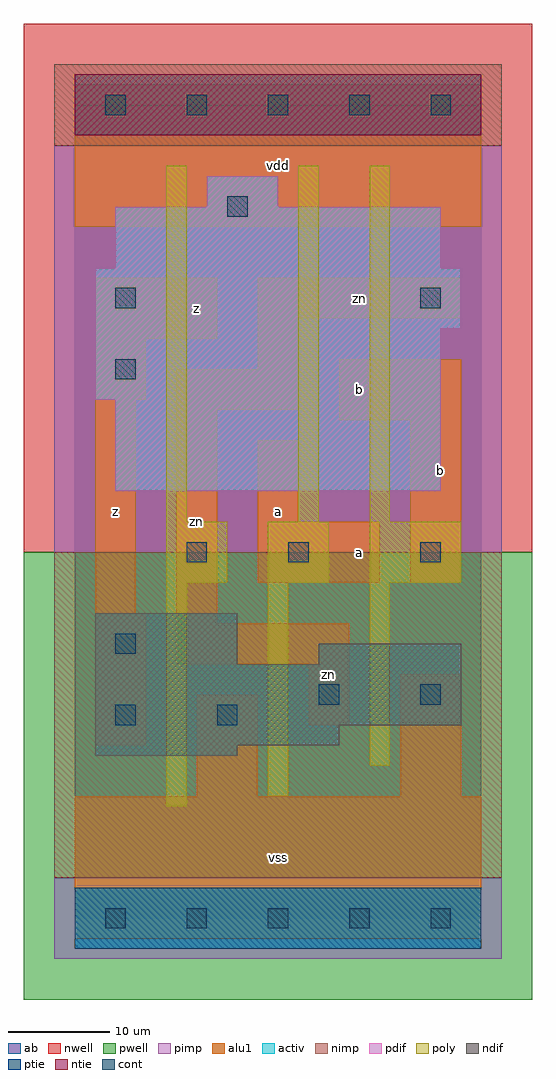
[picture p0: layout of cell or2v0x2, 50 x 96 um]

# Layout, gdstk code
import gdstk
lib = gdstk.Library(unit=1e-6, precision=1e-09)
def R(c, l, rs):  # rectangles x0, y0, x1, y1
    for r in rs: c.add(gdstk.rectangle(r[:2], r[2:], *l))
def A(c, l, x, y, w, h, nx, ny, dx, dy):  # array of equal rectangles
    R(c, l, [(x+i*dx, y+j*dy, x+i*dx+w, y+j*dy+h) for i in range(nx) for j in range(ny)])
ndif = (3, 0)
pdif = (4, 0)
ntie = (5, 0)
ptie = (6, 0)
cont = (25, 0)
pwell = (41, 0)
nwell = (42, 0)
activ = (43, 0)
pimp = (44, 0)
nimp = (45, 0)
poly = (46, 0)
alu1 = (49, 0)
ab = (63, 0)

or2v0x2 = lib.new_cell('or2v0x2')
R(or2v0x2, ndif, [(2,16,16,17), (2,17,26,19), (2,19,38,25), (2,25,16,30), (24,25,38,27)])
R(or2v0x2, pdif, [(4,42,36,51), (2,51,36,58), (2,58,38,64), (4,64,36,70), (13,70,20,73)])
R(or2v0x2, ntie, [(0,77,40,83)])
R(or2v0x2, ptie, [(0,-3,40,3)])
A(or2v0x2, cont, 3, -1, 2, 2, 5, 2, 8, 80)
R(or2v0x2, cont, [(4,19,6,21), (14,19,16,21), (24,21,26,23), (34,21,36,23), (4,26,6,28), (11,35,13,37), (21,35,23,37), (34,35,36,37), (4,53,6,55), (4,60,6,62), (34,60,36,62), (15,69,17,71)])
R(or2v0x2, pwell, [(-5,-8,45,36)])
R(or2v0x2, nwell, [(-5,36,45,88)])
R(or2v0x2, activ, [(0,-3,40,3), (2,16,16,17), (2,17,26,19), (2,19,38,25), (2,25,16,30), (24,25,38,27), (4,42,36,51), (2,51,36,58), (2,58,38,64), (4,64,36,70), (13,70,20,73), (0,77,40,83)])
R(or2v0x2, pimp, [(-2,-4,42,4), (-2,36,42,76)])
R(or2v0x2, nimp, [(-2,4,42,36), (-2,76,42,84)])
R(or2v0x2, poly, [(9,11,11,33), (19,12,21,33), (29,15,31,33), (9,33,15,39), (19,33,25,39), (29,33,38,39), (9,39,11,74), (22,39,24,74), (29,39,31,74)])
R(or2v0x2, alu1, [(0,-2,40,12), (12,12,18,22), (32,12,38,24), (2,17,7,30), (23,19,27,25), (10,25,27,29), (10,29,14,50), (2,30,6,51), (18,33,30,39), (33,33,38,49), (18,39,22,47), (26,49,38,55), (10,50,22,54), (2,51,7,57), (18,54,22,59), (2,57,14,63), (18,59,38,63), (0,68,40,82)])
R(or2v0x2, ab, [(0,0,40,80)])
or2v0x2.add(gdstk.Label('zn', (12,39), layer=49, texttype=0))
or2v0x2.add(gdstk.Label('zn', (25,24), layer=49, texttype=0))
or2v0x2.add(gdstk.Label('zn', (28,61), layer=49, texttype=0))
or2v0x2.add(gdstk.Label('z', (4,40), layer=49, texttype=0))
or2v0x2.add(gdstk.Label('z', (12,60), layer=49, texttype=0))
or2v0x2.add(gdstk.Label('vss', (20,6), layer=49, texttype=0))
or2v0x2.add(gdstk.Label('a', (28,36), layer=49, texttype=0))
or2v0x2.add(gdstk.Label('a', (20,40), layer=49, texttype=0))
or2v0x2.add(gdstk.Label('b', (28,52), layer=49, texttype=0))
or2v0x2.add(gdstk.Label('vdd', (20,74), layer=49, texttype=0))
or2v0x2.add(gdstk.Label('b', (36,44), layer=49, texttype=0))

lib.write_gds('or2v0x2.gds')
